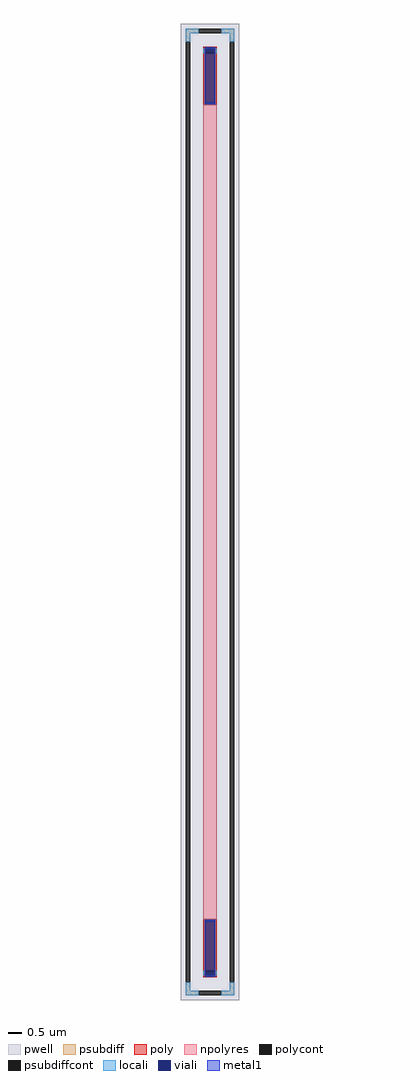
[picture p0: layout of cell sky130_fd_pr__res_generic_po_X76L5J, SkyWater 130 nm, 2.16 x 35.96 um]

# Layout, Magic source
magic
tech sky130A
magscale 1 2
<< pwell >>
rect -216 -3596 216 3596
<< psubdiff >>
rect -180 3526 -84 3560
rect 84 3526 180 3560
rect -180 3464 -146 3526
rect 146 3464 180 3526
rect -180 -3526 -146 -3464
rect 146 -3526 180 -3464
rect -180 -3560 -84 -3526
rect 84 -3560 180 -3526
<< psubdiffcont >>
rect -84 3526 84 3560
rect -180 -3464 -146 3464
rect 146 -3464 180 3464
rect -84 -3560 84 -3526
<< poly >>
rect -50 3414 50 3430
rect -50 3380 -34 3414
rect 34 3380 50 3414
rect -50 3000 50 3380
rect -50 -3380 50 -3000
rect -50 -3414 -34 -3380
rect 34 -3414 50 -3380
rect -50 -3430 50 -3414
<< polycont >>
rect -34 3380 34 3414
rect -34 -3414 34 -3380
<< npolyres >>
rect -50 -3000 50 3000
<< locali >>
rect -180 3526 -84 3560
rect 84 3526 180 3560
rect -180 3464 -146 3526
rect 146 3464 180 3526
rect -50 3380 -34 3414
rect 34 3380 50 3414
rect -50 -3414 -34 -3380
rect 34 -3414 50 -3380
rect -180 -3526 -146 -3464
rect 146 -3526 180 -3464
rect -180 -3560 -84 -3526
rect 84 -3560 180 -3526
<< viali >>
rect -34 3380 34 3414
rect -34 3017 34 3380
rect -34 -3380 34 -3017
rect -34 -3414 34 -3380
<< metal1 >>
rect -40 3414 40 3426
rect -40 3017 -34 3414
rect 34 3017 40 3414
rect -40 3005 40 3017
rect -40 -3017 40 -3005
rect -40 -3414 -34 -3017
rect 34 -3414 40 -3017
rect -40 -3426 40 -3414
<< properties >>
string FIXED_BBOX -163 -3543 163 3543
string gencell sky130_fd_pr__res_generic_po
string library sky130
string parameters w 0.5 l 30 m 1 nx 1 wmin 0.330 lmin 1.650 rho 48.2 val 2.892k dummy 0 dw 0.0 term 0.0 sterm 0.0 caplen 0.4 snake 0 guard 1 glc 1 grc 1 gtc 1 gbc 1 roverlap 0 endcov 100 full_metal 1 hv_guard 0 n_guard 0 vias 1 viagb 0 viagt 0 viagl 0 viagr 0
<< end >>
